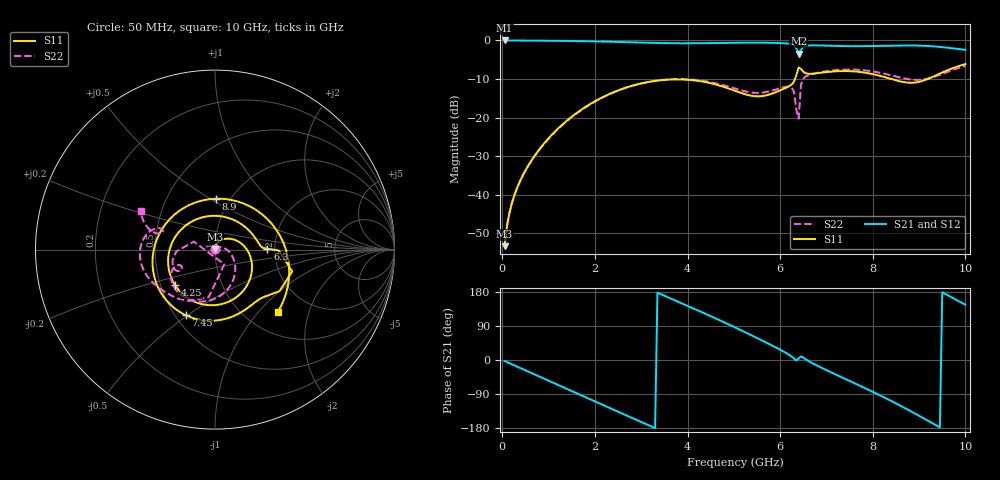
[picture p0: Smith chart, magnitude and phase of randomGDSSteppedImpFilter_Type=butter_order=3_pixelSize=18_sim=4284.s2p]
! freq	dB(S11)	phase(S11)	dB(S12)	phase(S12)
!  dB(S21)	phase(S21)	dB(S22)	phase(S22)
!S-par simulation data
#  GHz  S  DB  R 50
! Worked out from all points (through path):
!   200 points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, 50 MHz to 10 GHz, reference 50 ohm
!   highest |S21| = 0.00 dB at 50 MHz (marker M1); lowest = -3.4 dB at 6.4 GHz (marker M2)
!   group delay of S21, straight-line fit = 157 ps
!   lowest |S11| = -53.4 dB at 50 MHz (marker M3), VSWR 1.00, Z = 50 + j0.21 ohm
!   |S11| at or under -10 dB: start of sweep to 6.32 GHz; 8.399 GHz to 9.188 GHz (788.2 MHz wide, 8.96 % of centre)
!   |S22| runs from -53.3 to -6.6 dB; largest |S21 - S12| = 0
!   S11 on the Smith chart (normalised r, x): 50 MHz: 1.00, +0.00; 4.25 GHz: 0.59, -0.26; 6.3 GHz: 1.83, +0.02; 7.45 GHz: 0.57, -0.49; 8.9 GHz: 0.86, +0.53; 10 GHz: 1.39, -1.28
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0.05  -53.36 77.0  -0.00 -2.8  -0.00 -2.8  -53.31 75.5
0.1  -48.26 79.3  -0.01 -5.5  -0.01 -5.5  -48.07 71.9
0.2  -42.55 82.1  -0.02 -11.0  -0.02 -11.0  -42.45 65.8
0.5  -33.73 79.6  -0.04 -27.3  -0.04 -27.3  -33.74 43.3
1.15  -23.48 54.8  -0.09 -62.7  -0.09 -62.7  -23.61 -0.4
1.75  -17.61 21.9  -0.19 -95.6  -0.19 -95.6  -17.72 -32.9
2.65  -12.32 -32.9  -0.44 -144.7  -0.44 -144.7  -12.36 -76.1
3.4  -10.35 -80.3  -0.67 175.0  -0.67 175.0  -10.31 -109.0
4.25  -10.52 -138.3  -0.73 129.4  -0.73 129.4  -10.33 -141.0
5.05  -13.18 149.5  -0.59 84.6  -0.59 84.6  -12.58 -157.5
5.7  -14.24 60.8  -0.59 45.9  -0.59 45.9  -13.38 -150.0
6.3  -10.68 1.0  -1.23 3.9  -1.23 3.9  -13.32 -177.3
6.35  -8.97 -0.9  -2.06 -1.3  -2.06 -1.3  -17.95 159.4
6.4  -7.00 -15.8  -3.44 3.8  -3.44 3.8  -20.30 -57.4
6.45  -7.38 -32.7  -2.43 9.5  -2.43 9.5  -11.46 -97.6
6.7  -8.63 -56.6  -1.28 -8.6  -1.28 -8.6  -8.71 -140.7
7.45  -7.95 -113.8  -1.48 -52.5  -1.48 -52.5  -7.54 -172.6
7.95  -8.61 -155.2  -1.46 -81.0  -1.46 -81.0  -7.94 170.9
8.35  -9.83 164.3  -1.36 -105.0  -1.36 -105.0  -8.90 161.4
8.9  -10.93 88.6  -1.31 -140.5  -1.31 -140.5  -10.23 160.3
9.5  -8.31 5.3  -1.74 178.8  -1.74 178.8  -8.68 163.7
10  -6.14 -45.0  -2.45 145.9  -2.45 145.9  -6.60 152.4
